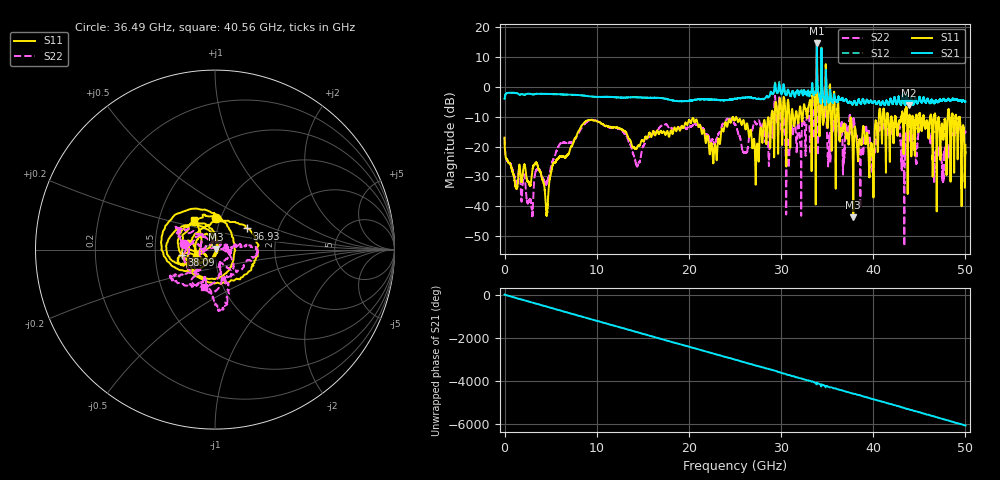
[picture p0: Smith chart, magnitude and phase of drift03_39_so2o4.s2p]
!Created with skrf (http://scikit-rf.org).
# Hz S RI R 50.0
!freq ReS11 ImS11 ReS21 ImS21 ReS12 ImS12 ReS22 ImS22
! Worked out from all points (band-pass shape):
!   10001 points, 300 kHz to 50 GHz, reference 50 ohm
!   highest |S21| = 14.49 dB at 33.88 GHz (marker M1); lowest = -6.2 dB at 43.89 GHz (marker M2)
!   |S21| within 3 dB of the highest: 33.86944 GHz to 33.88828 GHz (18.84 MHz wide, 0.0556 % of centre); 34.37733 GHz to 34.38896 GHz (11.63 MHz wide, 0.0338 % of centre)
!   lowest |S11| = -43.7 dB at 37.84 GHz (marker M3), VSWR 1.01, Z = 50.6 + j0.197 ohm
!   |S11| at or under -10 dB: start of sweep to 28.94 GHz; 36.27 GHz to 40.61 GHz (4.34 GHz wide, 11.3 % of centre); 46.75 GHz to 48.08 GHz (1.331 GHz wide, 2.81 % of centre) (the widest 3 of 60)
!   |S22| runs from -53.3 to 11.0 dB; largest |S21 - S12| = 0.81
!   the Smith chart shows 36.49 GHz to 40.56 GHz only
!   S11 on the Smith chart (normalised r, x): 36.49 GHz: 0.95, +0.34; 36.93 GHz: 1.39, +0.34; 38.09 GHz: 0.69, -0.04; 40.56 GHz: 0.76, +0.26
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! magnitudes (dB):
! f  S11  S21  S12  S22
! 300 kHz  -17.0  -4.0  -4.0  -16.8
! 2.82 GHz  -32.8  -2.4  -2.4  -38.1
! 4.565 GHz  -42.2  -2.3  -2.3  -32.2
! 8.335 GHz  -13.1  -2.8  -2.8  -13.9
! 14.44 GHz  -19.9  -3.5  -3.5  -26.2
! 16.67 GHz  -15.4  -3.7  -3.7  -14.3
! 22.82 GHz  -19.3  -4.3  -4.3  -19.1
! 25 GHz  -11.0  -4.0  -4.0  -12.5
! 27.39 GHz  -19.4  -4.1  -4.1  -12.4
! 29.6 GHz  -10.4  -2.0  -2.1  -11.7
! 30.7 GHz  -5.7  -1.4  -1.5  -17.2
! 33.34 GHz  -14.0  -0.5  -0.5  -7.1
! 33.88 GHz  15.5  14.5  14.1  11.0
! 36.49 GHz  -15.1  -4.4  -4.2  -15.1
! 36.93 GHz  -13.4  -4.5  -4.5  -18.0
! 37.84 GHz  -43.7  -5.4  -5.5  -11.1
! 38.09 GHz  -14.5  -5.6  -5.5  -16.6
! 39.81 GHz  -19.2  -4.9  -4.8  -23.8
! 40.56 GHz  -14.0  -4.9  -4.9  -13.2
! 41.67 GHz  -12.1  -6.0  -5.9  -15.1
! 43.89 GHz  -10.1  -6.2  -6.2  -16.6
! 50 GHz  -19.4  -4.9  -4.9  -15.1
